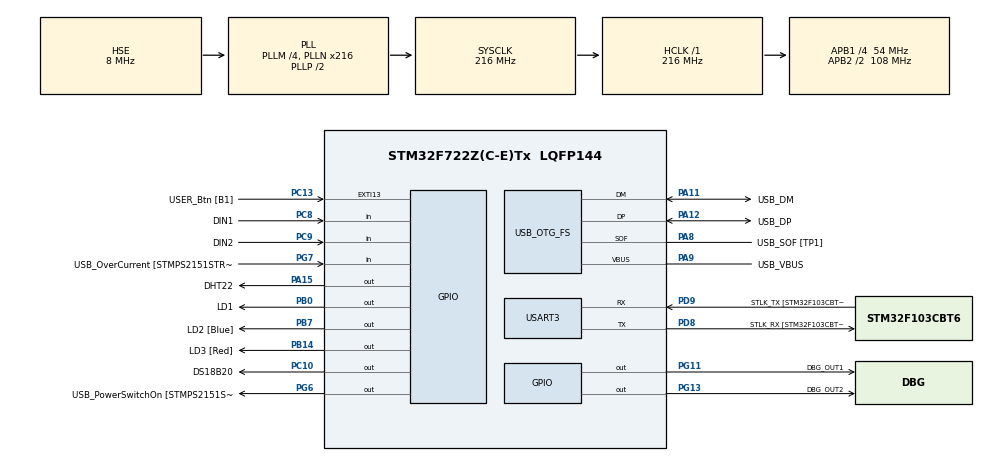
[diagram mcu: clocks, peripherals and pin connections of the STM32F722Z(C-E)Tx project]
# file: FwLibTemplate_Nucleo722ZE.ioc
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Mcu.Family=STM32F7
Mcu.Name=STM32F722Z(C-E)Tx
Mcu.Package=LQFP144
NVIC.PriorityGroup=NVIC_PRIORITYGROUP_4
NVIC.USART3_IRQn=true\:0\:0\:false\:false\:true\:true\:true
PA10.GPIO_Label=USB_ID
PA10.Signal=USB_OTG_FS_ID
PA11.GPIO_Label=USB_DM
PA11.Mode=Device_Only
PA11.Signal=USB_OTG_FS_DM
PA12.GPIO_Label=USB_DP
PA12.Mode=Device_Only
PA12.Signal=USB_OTG_FS_DP
PA13.GPIO_Label=TMS
PA13.Mode=Serial_Wire
PA13.Signal=SYS_JTMS-SWDIO
PA14.GPIO_Label=TCK
PA14.Mode=Serial_Wire
PA14.Signal=SYS_JTCK-SWCLK
PA15.GPIO_Label=DHT22
PA15.GPIO_ModeDefaultOutputPP=GPIO_MODE_OUTPUT_OD
PA15.GPIO_PuPd=GPIO_PULLUP
PA15.GPIO_Speed=GPIO_SPEED_FREQ_VERY_HIGH
PA15.Signal=GPIO_Output
PA8.GPIO_Label=USB_SOF [TP1]
PA8.Mode=Activate_SOF_FS
PA8.Signal=USB_OTG_FS_SOF
PA9.GPIO_Label=USB_VBUS
PA9.Mode=Activate_VBUS
PA9.Signal=USB_OTG_FS_VBUS
PB0.GPIO_Label=LD1
PB0.Signal=GPIO_Output
PB14.GPIO_Label=LD3 [Red]
PB14.Signal=GPIO_Output
PB3.GPIO_Label=SWO
PB3.Signal=SYS_JTDO-SWO
PB7.GPIO_Label=LD2 [Blue]
PB7.Signal=GPIO_Output
PC10.GPIO_Label=DS18B20
PC10.GPIO_PuPd=GPIO_PULLUP
PC10.GPIO_Speed=GPIO_SPEED_FREQ_VERY_HIGH
PC10.PinState=GPIO_PIN_SET
PC10.Signal=GPIO_Output
PC13.GPIO_Label=USER_Btn [B1]
PC13.Signal=GPXTI13
PC14-OSC32_IN.Mode=LSE-External-Oscillator
PC14-OSC32_IN.Signal=RCC_OSC32_IN
PC15-OSC32_OUT.Mode=LSE-External-Oscillator
PC15-OSC32_OUT.Signal=RCC_OSC32_OUT
PC8.GPIO_Label=DIN1
PC8.Signal=GPIO_Input
PC9.GPIO_Label=DIN2
PC9.Signal=GPIO_Input
PD8.GPIO_Label=STLK_RX [STM32F103CBT6_PA3]
PD8.Mode=Asynchronous
PD8.Signal=USART3_TX
PD9.GPIO_Label=STLK_TX [STM32F103CBT6_PA2]
PD9.Mode=Asynchronous
PD9.Signal=USART3_RX
PG11.GPIO_Label=DBG_OUT1
PG11.Signal=GPIO_Output
PG13.GPIO_Label=DBG_OUT2
PG13.Signal=GPIO_Output
PG6.GPIO_Label=USB_PowerSwitchOn [STMPS2151STR_EN]
PG6.Signal=GPIO_Output
PG7.GPIO_Label=USB_OverCurrent [STMPS2151STR_FAULT]
PG7.Signal=GPIO_Input
PH0-OSC_IN.GPIO_Label=MCO
PH0-OSC_IN.Mode=HSE-External-Clock-Source
PH0-OSC_IN.Signal=RCC_OSC_IN
PH1-OSC_OUT.Mode=HSE-External-Clock-Source
PH1-OSC_OUT.Signal=RCC_OSC_OUT
ProjectManager.HeapSize=0x200
ProjectManager.StackSize=0x400
ProjectManager.TargetToolchain=STM32CubeIDE
RCC.48MHZClocksFreq_Value=24000000
RCC.AHBFreq_Value=216000000
RCC.APB1CLKDivider=RCC_HCLK_DIV4
RCC.APB1Freq_Value=54000000
RCC.APB1TimFreq_Value=108000000
RCC.APB2CLKDivider=RCC_HCLK_DIV2
RCC.APB2Freq_Value=108000000
RCC.APB2TimFreq_Value=216000000
RCC.CortexFreq_Value=216000000
RCC.HCLKFreq_Value=216000000
RCC.HSE_VALUE=8000000
RCC.HSI_VALUE=16000000
RCC.PLLM=4
RCC.PLLMUL=RCC_PLL_MUL9
RCC.PLLN=216
RCC.PLLQ=9
RCC.PRESCALERUSB=RCC_USBCLKSOURCE_PLL_DIV1_5
RCC.SYSCLKFreq_VALUE=216000000
RCC.SYSCLKSource=RCC_SYSCLKSOURCE_PLLCLK
RCC.SYSCLKSourceVirtual=RCC_SYSCLKSOURCE_PLLCLK
RCC.USBFreq_Value=48000000
RCC.VCOOutputFreq_Value=432000000
TIM2.AutoReloadPreload=TIM_AUTORELOAD_PRELOAD_ENABLE
TIM2.Period=4294967294
USART3.VirtualMode-Asynchronous=VM_ASYNC
USB_OTG_FS.VirtualMode=Device_Only
VP_TIM2_VS_ClockSourceINT.Mode=Internal
board=NUCLEO-F722ZE

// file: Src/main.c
/* USER CODE BEGIN Header */
/**
  ******************************************************************************
  * @file           : main.c
  * @brief          : Main program body
  ******************************************************************************
  * @attention
  *
  * <h2><center>&copy; Copyright (c) 2020 STMicroelectronics.
  * All rights reserved.</center></h2>
  *
  * This software component is licensed by ST under BSD 3-Clause license,
  * the "License"; You may not use this file except in compliance with the
  * License. You may obtain a copy of the License at:
  *                        opensource.org/licenses/BSD-3-Clause
  *
  ******************************************************************************
  */
/* USER CODE END Header */
#include "main.h"
#include "tim.h"
#include "usart.h"
#include "usb_otg.h"
#include "gpio.h"

/* USER CODE BEGIN Includes */
#include <stdlib.h>
#include "fw_app.h"
/* USER CODE END Includes */

/* USER CODE BEGIN PV */
static int                    _i, _temp; //, _len;
static uint8_t                _ch;
static fl_status_t        _ret;

#if FW_APP_PARSER_CALLBACK == 0
static fl_bool_t           _cmd_processed;
#endif
/* USER CODE END PV */

void SystemClock_Config(void);
/* USER CODE BEGIN PFP */

#if FW_APP_PARSER == FW_APP_TXT_PARSER
static void txt_message_processing(void);
#else
static void bin_message_processing(void);
#endif

static void update_logical_button_status(void);
/* USER CODE END PFP */

/* USER CODE BEGIN 0 */
void _gpio_write(const void* gpio_handle, fl_bool_t on_off)
{
  fl_stm32_gpio_handle* st_gpio_handle = (fl_stm32_gpio_handle*)gpio_handle;

  HAL_GPIO_WritePin(st_gpio_handle->hport, st_gpio_handle->pin_num, on_off);
}

fl_bool_t _gpio_read(const void* gpio_handle)
{
  fl_stm32_gpio_handle* st_gpio_handle = (fl_stm32_gpio_handle*)gpio_handle;

  return (fl_bool_t)HAL_GPIO_ReadPin(st_gpio_handle->hport, st_gpio_handle->pin_num);
}

void _delay_us(volatile uint32_t microseconds)
{
  uint32_t clk_cycle_start = __HAL_TIM_GET_COUNTER(&htim2);

  /* Go to number of cycles for system */
  // Timer2 clock : 180 MHz(APB1 timer clock)
  //                1 us = 108000000 / 1000000 = 108 clocks
  // microsecond *= (1080000000 / 1000000) -> theoretical formula
  microseconds *= 108;

  /* Delay till end */
  while ((uint32_t)(__HAL_TIM_GET_COUNTER(&htim2) - clk_cycle_start) < microseconds)
  {
    __ASM volatile ("NOP");
  }
}
/* USER CODE END 0 */

int main(void)
{
  /* USER CODE BEGIN 1 */
  fw_app_init();
  /* USER CODE END 1 */

  /* MCU Configuration--------------------------------------------------------*/

  /* Reset of all peripherals, Initializes the Flash interface and the Systick. */
  HAL_Init();

  /* Configure the system clock */
  SystemClock_Config();

  /* Initialize all configured peripherals */
  MX_GPIO_Init();
  MX_USART3_UART_Init();
  MX_USB_OTG_FS_PCD_Init();
  MX_TIM2_Init();
  /* USER CODE BEGIN 2 */
  HAL_TIM_Base_Start(&htim2);
  fw_app_hw_init();
  /* USER CODE END 2 */

  /* Infinite loop */
  /* USER CODE BEGIN WHILE */
  while (1)
  {
    // Update logical button status.
    update_logical_button_status();

#if FW_APP_PARSER == FW_APP_TXT_PARSER
    txt_message_processing();
#else
    bin_message_processing();
#endif
    /* USER CODE END WHILE */

  }
}

void SystemClock_Config(void)
{
  RCC_OscInitTypeDef RCC_OscInitStruct = {0};
  RCC_ClkInitTypeDef RCC_ClkInitStruct = {0};
  RCC_PeriphCLKInitTypeDef PeriphClkInitStruct = {0};

  /** Configure LSE Drive Capability
  */
  HAL_PWR_EnableBkUpAccess();
  /** Configure the main internal regulator output voltage
  */
  __HAL_RCC_PWR_CLK_ENABLE();
  __HAL_PWR_VOLTAGESCALING_CONFIG(PWR_REGULATOR_VOLTAGE_SCALE1);
  /** Initializes the RCC Oscillators according to the specified parameters
  * in the RCC_OscInitTypeDef structure.
  */
  RCC_OscInitStruct.OscillatorType = RCC_OSCILLATORTYPE_HSE;
  RCC_OscInitStruct.HSEState = RCC_HSE_BYPASS;
  RCC_OscInitStruct.PLL.PLLState = RCC_PLL_ON;
  RCC_OscInitStruct.PLL.PLLSource = RCC_PLLSOURCE_HSE;
  RCC_OscInitStruct.PLL.PLLM = 4;
  RCC_OscInitStruct.PLL.PLLN = 216;
  RCC_OscInitStruct.PLL.PLLP = RCC_PLLP_DIV2;
  RCC_OscInitStruct.PLL.PLLQ = 9;
  if (HAL_RCC_OscConfig(&RCC_OscInitStruct) != HAL_OK)
  {
    Error_Handler();
  }
  /** Activate the Over-Drive mode
  */
  if (HAL_PWREx_EnableOverDrive() != HAL_OK)
  {
    Error_Handler();
  }
  /** Initializes the CPU, AHB and APB buses clocks
  */
  RCC_ClkInitStruct.ClockType = RCC_CLOCKTYPE_HCLK|RCC_CLOCKTYPE_SYSCLK
                              |RCC_CLOCKTYPE_PCLK1|RCC_CLOCKTYPE_PCLK2;
  RCC_ClkInitStruct.SYSCLKSource = RCC_SYSCLKSOURCE_PLLCLK;
  RCC_ClkInitStruct.AHBCLKDivider = RCC_SYSCLK_DIV1;
  RCC_ClkInitStruct.APB1CLKDivider = RCC_HCLK_DIV4;
  RCC_ClkInitStruct.APB2CLKDivider = RCC_HCLK_DIV2;

  if (HAL_RCC_ClockConfig(&RCC_ClkInitStruct, FLASH_LATENCY_7) != HAL_OK)
  {
    Error_Handler();
  }
  PeriphClkInitStruct.PeriphClockSelection = RCC_PERIPHCLK_USART3|RCC_PERIPHCLK_CLK48;
  PeriphClkInitStruct.Usart3ClockSelection = RCC_USART3CLKSOURCE_PCLK1;
  PeriphClkInitStruct.Clk48ClockSelection = RCC_CLK48SOURCE_PLL;
  if (HAL_RCCEx_PeriphCLKConfig(&PeriphClkInitStruct) != HAL_OK)
  {
    Error_Handler();
  }
}

/* USER CODE BEGIN 4 */
static void update_logical_button_status(void)
{
  for (_i = 0; _i < FW_APP_BTN_COUNT; _i++)
  {
    if (g_app.buttons[_i].prev_logical_status == FW_APP_BTN_STATE_RELEASED)
    {
      if (g_app.buttons[_i].current_logical_status == FW_APP_BTN_STATE_PRESSED)
      {
        // Send pressed event.
#if FW_APP_PARSER == FW_APP_TXT_PARSER
        g_app.proto_mgr.out_length = sprintf((char*)g_app.proto_mgr.out_buf, "%s %ld,%d,%d%c",
            FL_TXT_EBTN_STR,
            g_app.device_id,
            _i+1,
            FL_BUTTON_PRESSED,
            FL_TXT_MSG_TAIL);
#else
//        fw_bin_msg_button_evt_t* evt = (fw_bin_msg_button_evt_t*)&g_app.proto_mgr.out_buf[1];
//        evt->button_number = 1;
//        evt->button_status = FW_APP_BTN_STATE_PRESSED;
//        g_app.proto_mgr.out_length = fl_bin_msg_build_event(1, FL_MSG_ID_BUTTON_EVENT, 0, g_app.proto_mgr.out_buf);
#endif
        if (g_app.proto_mgr.out_length > 0)
        {
          HAL_UART_Transmit(g_app.proto_mgr.uart_handle, g_app.proto_mgr.out_buf, g_app.proto_mgr.out_length, FW_APP_PROTO_TX_TIMEOUT);
          g_app.proto_mgr.out_length = 0;
        }

        g_app.buttons[_i].prev_logical_status = FW_APP_BTN_STATE_PRESSED;
      }
    }
    else if (g_app.buttons[_i].prev_logical_status == FW_APP_BTN_STATE_PRESSED)
    {
      if (g_app.buttons[_i].current_logical_status == FW_APP_BTN_STATE_RELEASED)
      {
        g_app.buttons[_i].prev_logical_status = FW_APP_BTN_STATE_RELEASED;
      }
    }
  }
}

#if FW_APP_PARSER == FW_APP_TXT_PARSER
#if FW_APP_PARSER_CALLBACK == 1
static void txt_message_processing(void)
{
  _temp = fl_q_count(&g_app.proto_mgr.q);
  if (_temp > 0)
  {
    for (_i = 0; _i < _temp; _i++)
    {
      fl_q_pop(&g_app.proto_mgr.q, &_ch);
      _ret = fl_txt_msg_parser_parse_command(&g_app.proto_mgr.parser_handle, _ch, NULL);
      if (_ret != FL_TXT_MSG_PARSER_PARSING)
      {
        fl_txt_msg_parser_clear(&g_app.proto_mgr.parser_handle);
      }
    }
  }
}
#else
static void txt_message_processing(void)
{
  fl_status_t         ret;

  _temp = fl_q_count(&g_app.proto_mgr.q);
  if (_temp == 0)
  {
    return;
  }

  for (_i = 0; _i < _temp; _i++)
  {
    fl_q_pop(&g_app.proto_mgr.q, &_ch);
    _ret = fl_txt_msg_parser_parse_command(&g_app.proto_mgr.parser_handle, _ch, NULL);
    if ((_ret == FL_OK) &&
        (g_app.proto_mgr.parser_handle.device_id == g_app.device_id))
    {
      _cmd_processed = FL_FALSE;
      g_app.proto_mgr.out_length = 0;

      switch (g_app.proto_mgr.parser_handle.msg_id)
      {
      case FL_MSG_ID_READ_HW_VERSION:
        // Version string.
        g_app.proto_mgr.out_length = sprintf((char*)g_app.proto_mgr.out_buf, "%s %ld,%d,%d.%d.%d%c",
            fl_txt_msg_get_message_name(g_app.proto_mgr.parser_handle.msg_id),
            g_app.proto_mgr.parser_handle.device_id,
            FL_OK,
            FW_APP_HW_MAJOR, FW_APP_HW_MINOR, FW_APP_HW_REVISION,
            FL_TXT_MSG_TAIL);
        break;

      case FL_MSG_ID_READ_FW_VERSION:
        // Version string.
        g_app.proto_mgr.out_length = sprintf((char*)g_app.proto_mgr.out_buf, "%s %ld,%d,%d.%d.%d%c",
            fl_txt_msg_get_message_name(g_app.proto_mgr.parser_handle.msg_id),
            g_app.proto_mgr.parser_handle.device_id,
            FL_OK,
            FW_APP_FW_MAJOR, FW_APP_FW_MINOR, FW_APP_FW_REVISION,
            FL_TXT_MSG_TAIL);
        break;

      case FL_MSG_ID_READ_GPIO:
        // Check the number of arguments.
        if (g_app.proto_mgr.parser_handle.arg_count == 1)
        {
          fl_gpi_port_t* gpi_port = (fl_gpi_port_t*)&(g_app.proto_mgr.parser_handle.payload);

          // Check port number range.
          if ((gpi_port->port_num >= FW_APP_DIN_MIN_PORT_NUM) &&
              (gpi_port->port_num <= FW_APP_DIN_MAX_PORT_NUM))
          {
            fl_dio_port_t* port = fw_app_get_din_port(gpi_port->port_num);
            fl_bool_t din_value;

            if ((port != NULL) &&
                (fl_dio_read(port, &din_value) == FL_OK))
            {
              g_app.proto_mgr.out_length = sprintf((char*)g_app.proto_mgr.out_buf, "%s %ld,%d,%d,%d%c",
                  fl_txt_msg_get_message_name(g_app.proto_mgr.parser_handle.msg_id),
                  g_app.proto_mgr.parser_handle.device_id,
                  FL_OK,
                  gpi_port->port_num,
                  din_value,
                  FL_TXT_MSG_TAIL);
              _cmd_processed = FL_TRUE;
            }
          }
        }

        if (_cmd_processed != FL_TRUE)
        {
          g_app.proto_mgr.out_length = sprintf((char*)g_app.proto_mgr.out_buf, "%s %ld,%d%c",
              fl_txt_msg_get_message_name(g_app.proto_mgr.parser_handle.msg_id),
              g_app.proto_mgr.parser_handle.device_id,
              FL_ERROR,
              FL_TXT_MSG_TAIL);
        }
        break;

      case FL_MSG_ID_WRITE_GPIO:
        // Check the number of arguments.
        if (g_app.proto_mgr.parser_handle.arg_count == 2)
        {
          fl_gpo_port_value_t* gpo_port_value = (fl_gpo_port_value_t*)&(g_app.proto_mgr.parser_handle.payload);

          // Check port number range.
          if ((gpo_port_value->port_num >= FW_APP_DOUT_MIN_PORT_NUM) &&
              (gpo_port_value->port_num <= FW_APP_DOUT_MAX_PORT_NUM))
          {
            // Check port value.
            if ((gpo_port_value->port_value == FL_TRUE) ||
                (gpo_port_value->port_value == FL_FALSE))
            {
              fl_dio_port_t* port = fw_app_get_dout_port(gpo_port_value->port_num);
              if (port != NULL)
              {
                if (fl_dio_write(port, gpo_port_value->port_value) == FL_OK)
                {
                  g_app.proto_mgr.out_length = sprintf((char*)g_app.proto_mgr.out_buf, "%s %ld,%d%c",
                      fl_txt_msg_get_message_name(g_app.proto_mgr.parser_handle.msg_id),
                      g_app.proto_mgr.parser_handle.device_id,
                      FL_OK,
                      FL_TXT_MSG_TAIL);
                  _cmd_processed = FL_TRUE;
                }
              }
            }
          }
        }

        if (_cmd_processed != FL_TRUE)
        {
          g_app.proto_mgr.out_length = sprintf((char*)g_app.proto_mgr.out_buf, "%s %ld,%d%c",
              fl_txt_msg_get_message_name(g_app.proto_mgr.parser_handle.msg_id),
              g_app.proto_mgr.parser_handle.device_id,
              FL_ERROR,
              FL_TXT_MSG_TAIL);
        }
        break;

      case FL_MSG_ID_READ_TEMPERATURE:
        if (g_app.proto_mgr.parser_handle.arg_count == 1)
        {
          fl_sensor_t* sensor = (fl_sensor_t*)&(g_app.proto_mgr.parser_handle.payload);

          if (sensor->sensor_num == 1)
          {
            ret = fl_dht22_get_readings(&g_app.dht22[0].dht22_handle);
            if (ret == FL_OK)
            {
              uint16_t temperature = 0;

              fl_dht22_decode_readings(&g_app.dht22[0].dht22_handle);
              temperature = fl_dht22_get_temperature(&g_app.dht22[0].dht22_handle);

              g_app.proto_mgr.out_length = sprintf((char*)g_app.proto_mgr.out_buf, "%s %ld,%d,%d,%d.%d%c",
                  fl_txt_msg_get_message_name(g_app.proto_mgr.parser_handle.msg_id),
                  g_app.proto_mgr.parser_handle.device_id,
                  FL_OK,
                  sensor->sensor_num,
                  (temperature & 0xffff) / 10,
                  (temperature & 0x7fff) % 10,
                  FL_TXT_MSG_TAIL);

              _cmd_processed = FL_TRUE;
            }
          }
          else if (sensor->sensor_num == 2)
          {
            fl_ds18b20_manual_convert(&g_app.ds18b20[0]);
            if (g_app.ds18b20[0].devices[0].data_valid == FL_TRUE)
            {
              g_app.proto_mgr.out_length = sprintf((char*)g_app.proto_mgr.out_buf, "%s %ld,%d,%d,%.2f%c",
                  fl_txt_msg_get_message_name(g_app.proto_mgr.parser_handle.msg_id),
                  g_app.proto_mgr.parser_handle.device_id,
                  FL_OK,
                  sensor->sensor_num,
                  g_app.ds18b20[0].devices[0].temperature,
                  FL_TXT_MSG_TAIL);

              _cmd_processed = FL_TRUE;
            }
          }

          if (_cmd_processed != FL_TRUE)
          {
            g_app.proto_mgr.out_length = sprintf((char*)g_app.proto_mgr.out_buf, "%s %ld,%d%c",
                fl_txt_msg_get_message_name(g_app.proto_mgr.parser_handle.msg_id),
                g_app.proto_mgr.parser_handle.device_id,
                FL_ERROR,
                FL_TXT_MSG_TAIL);
          }
        }
        break;

      case FL_MSG_ID_READ_HUMIDITY:
        if (g_app.proto_mgr.parser_handle.arg_count == 1)
        {
          fl_sensor_t* sensor = (fl_sensor_t*)&(g_app.proto_mgr.parser_handle.payload);

          if (sensor->sensor_num == FW_APP_DHT22_MIN_NUM)
          {
            ret = fl_dht22_get_readings(&g_app.dht22[0].dht22_handle);
            if (ret == FL_OK)
            {
              uint16_t humidity = 0;

              fl_dht22_decode_readings(&g_app.dht22[0].dht22_handle);
              humidity = fl_dht22_get_humidity(&g_app.dht22[0].dht22_handle);

              g_app.proto_mgr.out_length = sprintf((char*)g_app.proto_mgr.out_buf, "%s %ld,%d,%d,%d.%d%c",
                  fl_txt_msg_get_message_name(g_app.proto_mgr.parser_handle.msg_id),
                  g_app.proto_mgr.parser_handle.device_id,
                  FL_OK,
                  sensor->sensor_num,
                  (humidity & 0xffff) / 10,
                  (humidity & 0x7fff) % 10,
                  FL_TXT_MSG_TAIL);

              _cmd_processed = FL_TRUE;
            }
          }

          if (_cmd_processed != FL_TRUE)
          {
            g_app.proto_mgr.out_length = sprintf((char*)g_app.proto_mgr.out_buf, "%s %ld,%d%c",
                fl_txt_msg_get_message_name(g_app.proto_mgr.parser_handle.msg_id),
                g_app.proto_mgr.parser_handle.device_id,
                FL_ERROR,
                FL_TXT_MSG_TAIL);
          }
        }
        break;

      case FL_MSG_ID_READ_TEMP_AND_HUM:
        if (g_app.proto_mgr.parser_handle.arg_count == 1)
        {
          fl_sensor_t* sensor = (fl_sensor_t*)&(g_app.proto_mgr.parser_handle.payload);

          if (sensor->sensor_num == FW_APP_DHT22_MIN_NUM)
          {
            ret = fl_dht22_get_readings(&g_app.dht22[0].dht22_handle);
            if (ret == FL_OK)
            {
              uint16_t temperature = 0;
              uint16_t humidity = 0;

              fl_dht22_decode_readings(&g_app.dht22[0].dht22_handle);
              temperature = fl_dht22_get_temperature(&g_app.dht22[0].dht22_handle);
              humidity = fl_dht22_get_humidity(&g_app.dht22[0].dht22_handle);

              g_app.proto_mgr.out_length = sprintf((char*)g_app.proto_mgr.out_buf, "%s %ld,%d,%d,%d.%d,%d.%d%c",
                  fl_txt_msg_get_message_name(g_app.proto_mgr.parser_handle.msg_id),
                  g_app.proto_mgr.parser_handle.device_id,
                  FL_OK,
                  sensor->sensor_num,
                  (temperature & 0xffff) / 10,
                  (temperature & 0x7fff) % 10,
                  (humidity & 0xffff) / 10,
                  (humidity & 0x7fff) % 10,
                  FL_TXT_MSG_TAIL);

              _cmd_processed = FL_TRUE;
            }
          }

          if (_cmd_processed != FL_TRUE)
          {
            g_app.proto_mgr.out_length = sprintf((char*)g_app.proto_mgr.out_buf, "%s %ld,%d%c",
                fl_txt_msg_get_message_name(g_app.proto_mgr.parser_handle.msg_id),
                g_app.proto_mgr.parser_handle.device_id,
                FL_ERROR,
                FL_TXT_MSG_TAIL);
          }
        }
        break;

      case FL_MSG_ID_BOOT_MODE:
        if (g_app.proto_mgr.parser_handle.arg_count == 1)
        {
          _cmd_processed = FL_TRUE;
          g_app.proto_mgr.out_length = sprintf((char*)g_app.proto_mgr.out_buf, "%s %ld,%d%c",
                      fl_txt_msg_get_message_name(g_app.proto_mgr.parser_handle.msg_id),
                      g_app.proto_mgr.parser_handle.device_id,
                      FL_OK,
                      FL_TXT_MSG_TAIL);
        }

        if (_cmd_processed != FL_TRUE)
        {
          g_app.proto_mgr.out_length = sprintf((char*)g_app.proto_mgr.out_buf, "%s %ld,%d%c",
              fl_txt_msg_get_message_name(g_app.proto_mgr.parser_handle.msg_id),
              g_app.proto_mgr.parser_handle.device_id,
              FL_ERROR,
              FL_TXT_MSG_TAIL);
        }
        break;

      case FL_MSG_ID_RESET:
        g_app.proto_mgr.out_length = sprintf((char*)g_app.proto_mgr.out_buf, "%s %ld,%d%c",
                    fl_txt_msg_get_message_name(g_app.proto_mgr.parser_handle.msg_id),
                    g_app.proto_mgr.parser_handle.device_id,
                    FL_OK,
                    FL_TXT_MSG_TAIL);
        break;
      }
    }

    if (_ret != FL_TXT_MSG_PARSER_PARSING)
    {
      if (g_app.proto_mgr.out_length > 0)
      {
        HAL_UART_Transmit(g_app.proto_mgr.uart_handle, g_app.proto_mgr.out_buf, g_app.proto_mgr.out_length, FW_APP_PROTO_TX_TIMEOUT);
      }
      g_app.proto_mgr.out_length = 0;

      fl_txt_msg_parser_clear(&g_app.proto_mgr.parser_handle);
    }
  }
}
#endif

#else

#if FW_APP_PARSER_CALLBACK == 1
static void bin_message_processing(void)
{
  _temp = fl_q_count(&g_app.proto_mgr.q);
  if (_temp > 0)
  {
    for (_i = 0; _i < _temp; _i++)
    {
      fl_q_pop(&g_app.proto_mgr.q, &_ch);
      _ret = fl_bin_msg_parser_parse(&g_app.proto_mgr.parser_handle, _ch, NULL);
      if (_ret != FL_BIN_MSG_PARSER_PARSING)
      {
        fl_bin_msg_parser_clear(&g_app.proto_mgr.parser_handle);
      }
    }
  }
}
#else
static void bin_message_processing(void)
{
  _temp = fl_q_count(&g_app.proto_mgr.q);
  if (_temp > 0)
  {
    for (_i = 0; _i < _temp; _i++)
    {
      fl_q_pop(&g_app.proto_mgr.q, &_ch);
      _ret = fl_bin_msg_parser_parse(&g_app.proto_mgr.parser_handle, _ch, NULL);
      if (_ret == FL_OK)
      {
        fl_bin_msg_header_t*  header = (fl_bin_msg_header_t*)&g_app.proto_mgr.parser_handle.buf[1];
        fl_bin_msg_full_t*    rx_msg_full = (fl_bin_msg_full_t*)g_app.proto_mgr.parser_handle.buf;
        fl_bin_msg_full_t*    tx_msg_full = (fl_bin_msg_full_t*)g_app.proto_mgr.out_buf;
        if (header->device_id != g_app.device_id)
        {
          fl_bin_msg_parser_clear(&g_app.proto_mgr.parser_handle);
          continue;
        }

        tx_msg_full->header.device_id = header->device_id;
        tx_msg_full->header.message_id = header->message_id;
        tx_msg_full->header.flag1.sequence_num = header->flag1.sequence_num;
        tx_msg_full->header.flag1.return_expected = FL_FALSE;
        tx_msg_full->header.flag2.error = FL_OK;

        _cmd_processed = FL_FALSE;
        g_app.proto_mgr.out_length = 0;

        switch (header->message_id)
        {
          case FL_MSG_ID_READ_HW_VERSION:
          {
            fl_hw_ver_t* hw_ver = (fl_hw_ver_t*)&(tx_msg_full->payload);
            sprintf(hw_ver->version, "%d.%d.%d", FW_APP_HW_MAJOR, FW_APP_HW_MINOR, FW_APP_HW_REVISION);
            g_app.proto_mgr.out_length = fl_bin_msg_build_response((uint8_t*)g_app.proto_mgr.out_buf, sizeof(g_app.proto_mgr.out_buf));
            break;
          }

          case FL_MSG_ID_READ_FW_VERSION:
          {
            fl_fw_ver_t* fw_ver = (fl_fw_ver_t*)&(tx_msg_full->payload);
            sprintf(fw_ver->version, "%d.%d.%d", FW_APP_FW_MAJOR, FW_APP_FW_MINOR, FW_APP_FW_REVISION);
            g_app.proto_mgr.out_length = fl_bin_msg_build_response((uint8_t*)g_app.proto_mgr.out_buf, sizeof(g_app.proto_mgr.out_buf));
            break;
          }

          case FL_MSG_ID_WRITE_GPIO:
          {
            fl_gpo_port_value_t* gpo_port_value = (fl_gpo_port_value_t*)&(rx_msg_full->payload);
            if ((gpo_port_value->port_num >= FW_APP_DOUT_MIN_PORT_NUM) &&
                (gpo_port_value->port_num <= FW_APP_DOUT_MAX_PORT_NUM))
            {
              if ((gpo_port_value->port_value == 0) ||
                  (gpo_port_value->port_value == 1))
              {
                fl_dio_port_t* port = fw_app_get_dout_port(gpo_port_value->port_num);
                if (port != NULL)
                {
                  if (fl_dio_write(port, gpo_port_value->port_value) == FL_OK)
                  {
                    _cmd_processed = FL_TRUE;
                  }
                }
              }
            }

            if (_cmd_processed != FL_TRUE)
            {
              tx_msg_full->header.flag2.error = FL_ERROR;
            }

            g_app.proto_mgr.out_length = fl_bin_msg_build_response((uint8_t*)g_app.proto_mgr.out_buf, sizeof(g_app.proto_mgr.out_buf));
            break;
          }

          case FL_MSG_ID_READ_GPIO:
          {
            fl_gpi_port_t* gpi_port = (fl_gpi_port_t*)&(rx_msg_full->payload);
            fl_gpi_port_value_t* gpi_port_val = (fl_gpi_port_value_t*)&(tx_msg_full->payload);

            if ((gpi_port->port_num >= FW_APP_DIN_MIN_PORT_NUM) &&
                (gpi_port->port_num <= FW_APP_DIN_MAX_PORT_NUM))
            {
              fl_dio_port_t* port = fw_app_get_din_port(gpi_port->port_num);
              fl_bool_t din_value;

              if (fl_dio_read(port, &din_value) == FL_OK)
              {
                gpi_port_val->port_num = gpi_port->port_num;
                gpi_port_val->port_value = din_value;
                _cmd_processed = FL_TRUE;
              }
            }

            if (_cmd_processed != FL_TRUE)
            {
              tx_msg_full->header.flag2.error = FL_ERROR;
            }

            g_app.proto_mgr.out_length = fl_bin_msg_build_response((uint8_t*)g_app.proto_mgr.out_buf, sizeof(g_app.proto_mgr.out_buf));
            break;
          }

          case FL_MSG_ID_READ_TEMPERATURE:
          {
            fl_sensor_t* sensor = (fl_sensor_t*)&(rx_msg_full->payload);

            if (sensor->sensor_num == 1)
            {
              if (fl_dht22_get_readings(&g_app.dht22[0].dht22_handle) == FL_OK)
              {
                fl_temp_sensor_read_t* sensor_read = (fl_temp_sensor_read_t*)&(tx_msg_full->payload);

                fl_dht22_decode_readings(&g_app.dht22[0].dht22_handle);

                sensor_read->sensor_num = sensor->sensor_num;
                sensor_read->temperature = ((double)fl_dht22_get_temperature(&g_app.dht22[0].dht22_handle)) / 10.0;

                _cmd_processed = FL_TRUE;
              }
            }
            else if (sensor->sensor_num == 2)
            {
              fl_ds18b20_manual_convert(&g_app.ds18b20[0]);

              if (g_app.ds18b20[0].devices[0].data_valid == FL_TRUE)
              {
                fl_temp_sensor_read_t* sensor_read = (fl_temp_sensor_read_t*)&(tx_msg_full->payload);

                sensor_read->sensor_num = sensor->sensor_num;
                sensor_read->temperature = (double)g_app.ds18b20[0].devices[0].temperature;

                _cmd_processed = FL_TRUE;
              }
            }

            if (_cmd_processed != FL_TRUE)
            {
              tx_msg_full->header.flag2.error = FL_ERROR;
            }

            g_app.proto_mgr.out_length = fl_bin_msg_build_response((uint8_t*)g_app.proto_mgr.out_buf, sizeof(g_app.proto_mgr.out_buf));
            break;
          }

          case FL_MSG_ID_READ_HUMIDITY:
          {
            fl_sensor_t* sensor = (fl_sensor_t*)&(rx_msg_full->payload);

            if (sensor->sensor_num == FW_APP_DHT22_MIN_NUM)
            {
              if (fl_dht22_get_readings(&g_app.dht22[0].dht22_handle) == FL_OK)
              {
                fl_hum_sensor_read_t* sensor_read = (fl_hum_sensor_read_t*)&(tx_msg_full->payload);

                fl_dht22_decode_readings(&g_app.dht22[0].dht22_handle);

                sensor_read->sensor_num = sensor->sensor_num;
                sensor_read->humidity = ((double)fl_dht22_get_humidity(&g_app.dht22[0].dht22_handle)) / 10.0;

                _cmd_processed = FL_TRUE;
              }
            }

            if (_cmd_processed != FL_TRUE)
            {
              tx_msg_full->header.flag2.error = FL_ERROR;
            }

            g_app.proto_mgr.out_length = fl_bin_msg_build_response((uint8_t*)g_app.proto_mgr.out_buf, sizeof(g_app.proto_mgr.out_buf));
            break;
          }

          case FL_MSG_ID_READ_TEMP_AND_HUM:
          {
            fl_sensor_t* sensor = (fl_sensor_t*)&(rx_msg_full->payload);

            if (sensor->sensor_num == FW_APP_DHT22_MIN_NUM)
            {
              if (fl_dht22_get_readings(&g_app.dht22[0].dht22_handle) == FL_OK)
              {
                fl_temp_hum_sensor_read_t* sensor_read = (fl_temp_hum_sensor_read_t*)&(tx_msg_full->payload);

                fl_dht22_decode_readings(&g_app.dht22[0].dht22_handle);

                sensor_read->sensor_num = sensor->sensor_num;
                sensor_read->temperature = ((double)fl_dht22_get_temperature(&g_app.dht22[0].dht22_handle)) / 10.0;
                sensor_read->humidity = ((double)fl_dht22_get_humidity(&g_app.dht22[0].dht22_handle)) / 10.0;

                _cmd_processed = FL_TRUE;
              }
            }

            if (_cmd_processed != FL_TRUE)
            {
              tx_msg_full->header.flag2.error = FL_ERROR;
            }

            g_app.proto_mgr.out_length = fl_bin_msg_build_response((uint8_t*)g_app.proto_mgr.out_buf, sizeof(g_app.proto_mgr.out_buf));
            break;
          }

          case FL_MSG_ID_BOOT_MODE:
          {
            fl_boot_mode_t* bmode = (fl_boot_mode_t*)&(rx_msg_full->payload);

            if ((bmode->boot_mode == FL_BMODE_APP) ||
                (bmode->boot_mode == FL_BMODE_BOOTLOADER))
            {
              _cmd_processed = FL_TRUE;
            }

            if (_cmd_processed != FL_TRUE)
            {
              tx_msg_full->header.flag2.error = FL_ERROR;
            }

            g_app.proto_mgr.out_length = fl_bin_msg_build_response((uint8_t*)g_app.proto_mgr.out_buf, sizeof(g_app.proto_mgr.out_buf));
            break;
          }

          case FL_MSG_ID_RESET:
            g_app.proto_mgr.out_length = fl_bin_msg_build_response((uint8_t*)g_app.proto_mgr.out_buf, sizeof(g_app.proto_mgr.out_buf));
            break;
        }
      }

      if (_ret != FL_BIN_MSG_PARSER_PARSING)
      {
        if (g_app.proto_mgr.out_length > 0)
        {
          HAL_UART_Transmit(g_app.proto_mgr.uart_handle, g_app.proto_mgr.out_buf, g_app.proto_mgr.out_length, FW_APP_PROTO_TX_TIMEOUT);
        }
        g_app.proto_mgr.out_length = 0;

        fl_bin_msg_parser_clear(&g_app.proto_mgr.parser_handle);
      }
    }
  }
}
#endif
#endif

// Callback function for UART data reception.
void HAL_UART_RxCpltCallback(UART_HandleTypeDef *huart)
{
  if (huart == g_app.proto_mgr.uart_handle)
  {
    fl_q_push(&g_app.proto_mgr.q, g_app.proto_mgr.rx_buf[0]);
    FW_APP_UART_RCV_IT(g_app.proto_mgr.uart_handle, g_app.proto_mgr.rx_buf, 1);
  }
}
/* USER CODE END 4 */

void Error_Handler(void)
{
}

/************************ (C) COPYRIGHT STMicroelectronics *****END OF FILE****/
